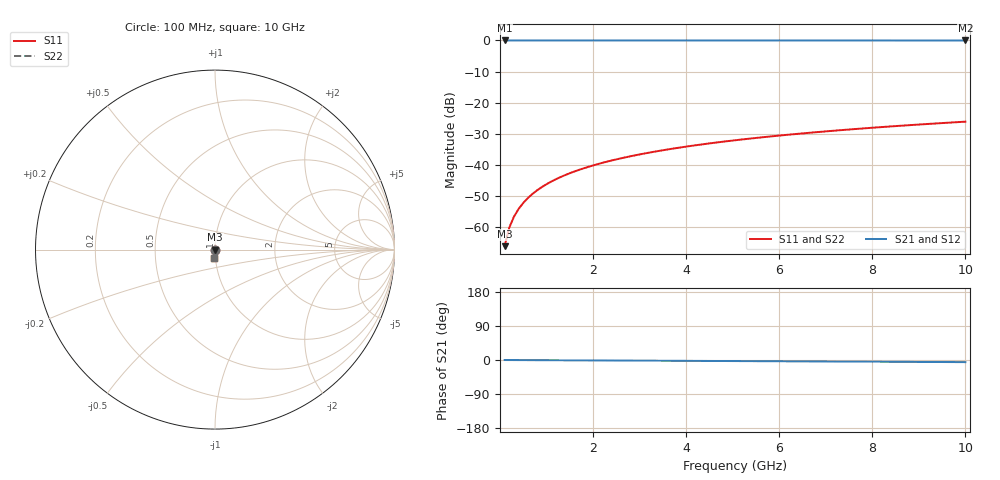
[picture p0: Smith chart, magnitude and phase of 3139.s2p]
# Hz S RI R 50.00
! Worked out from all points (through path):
!   100 points, 100 MHz to 10 GHz, reference 50 ohm
!   highest |S21| = 0.00 dB at 100 MHz (marker M1); lowest = 0.0 dB at 10 GHz (marker M2)
!   lowest |S11| = -66.1 dB at 100 MHz (marker M3), VSWR 1.00, Z = 50 - j0.0491 ohm
!   |S11| at or under -10 dB: start of sweep to end of sweep
!   |S22| runs from -66.1 to -26.1 dB; largest |S21 - S12| = 0
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1e8  7.67e-05 -0.000491  0.9999 -0.000973  0.9999 -0.000973  7.67e-05 -0.000491
2e8  7.51e-05 -0.000982  0.9999 -0.00195  0.9999 -0.00195  7.51e-05 -0.000982
3e8  7.24e-05 -0.00147  0.9999 -0.00292  0.9999 -0.00292  7.24e-05 -0.00147
4e8  6.86e-05 -0.00196  0.9999 -0.00389  0.9999 -0.00389  6.86e-05 -0.00196
5e8  6.39e-05 -0.00246  0.9999 -0.00487  0.9999 -0.00487  6.39e-05 -0.00246
6e8  5.82e-05 -0.00295  0.9999 -0.00584  0.9999 -0.00584  5.82e-05 -0.00295
7e8  5.15e-05 -0.00344  0.9999 -0.00682  0.9999 -0.00682  5.15e-05 -0.00344
8e8  4.38e-05 -0.00393  0.9999 -0.00779  0.9999 -0.00779  4.38e-05 -0.00393
9e8  3.52e-05 -0.00442  0.9999 -0.00876  0.9999 -0.00876  3.52e-05 -0.00442
1.1e9  1.5e-05 -0.0054  0.9998 -0.0107  0.9998 -0.0107  1.5e-05 -0.0054
1.4e9  -2.26e-05 -0.00688  0.9998 -0.0136  0.9998 -0.0136  -2.26e-05 -0.00688
1.8e9  -8.62e-05 -0.00885  0.9997 -0.0175  0.9997 -0.0175  -8.62e-05 -0.00885
2.1e9  -0.000144 -0.0103  0.9996 -0.0205  0.9996 -0.0205  -0.000144 -0.0103
2.5e9  -0.000235 -0.0123  0.9995 -0.0244  0.9995 -0.0244  -0.000235 -0.0123
2.9e9  -0.000341 -0.0143  0.9994 -0.0283  0.9994 -0.0283  -0.000341 -0.0143
3.4e9  -0.000496 -0.0167  0.9992 -0.0332  0.9992 -0.0332  -0.000496 -0.0167
4.2e9  -0.000795 -0.0207  0.9988 -0.041  0.9988 -0.041  -0.000795 -0.0207
5.1e9  -0.00121 -0.0252  0.9983 -0.0499  0.9983 -0.0499  -0.00121 -0.0252
5.9e9  -0.00164 -0.0291  0.9978 -0.0577  0.9978 -0.0577  -0.00164 -0.0291
6.7e9  -0.00214 -0.0331  0.9972 -0.0656  0.9972 -0.0656  -0.00214 -0.0331
8.4e9  -0.0034 -0.0415  0.9956 -0.0824  0.9956 -0.0824  -0.0034 -0.0415
1e10  -0.00486 -0.0494  0.9938 -0.0982  0.9938 -0.0982  -0.00486 -0.0494
